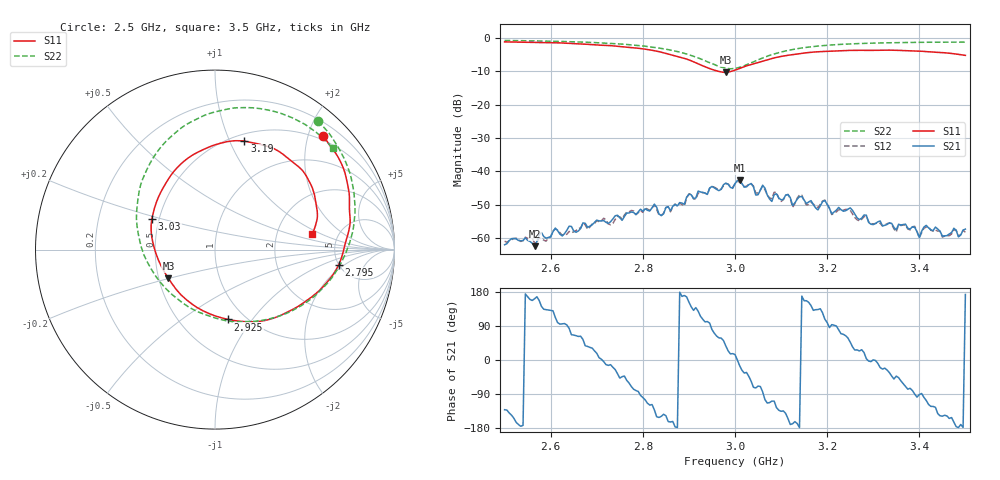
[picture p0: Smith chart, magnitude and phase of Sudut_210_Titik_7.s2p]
# Hz S RI R 50
! CMT, C1220, 16058040, 17.2.0/1
! Date: 15/08/2018 10:09:46
! Data: Format (Calibration Info)
! Freq  S11: Re/Im (F2)  S21: Re/Im (F2)  S12: Re/Im (F2)  S22: Re/Im (F2)
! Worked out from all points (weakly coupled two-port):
!   201 points, 2.5 GHz to 3.5 GHz, reference 50 ohm
!   highest |S21| = -42.70 dB at 3.01 GHz (marker M1); lowest = -62.4 dB at 2.565 GHz (marker M2)
!   lowest |S11| = -10.3 dB at 2.98 GHz (marker M3), VSWR 1.88, Z = 28.1 - j9.92 ohm
!   |S11| at or under -10 dB: 2.964 GHz to 2.992 GHz (27.84 MHz wide, 0.935 % of centre)
!   |S22| runs from -9.2 to -0.7 dB; largest |S21 - S12| = 0.00045
!   S11 on the Smith chart (normalised r, x): 2.5 GHz: 0.42, +2.25; 2.795 GHz: 5.00, -1.62; 2.925 GHz: 0.83, -0.77; 3.03 GHz: 0.46, +0.19; 3.19 GHz: 0.57, +1.14; 3.5 GHz: 3.22, +0.78
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2.5e9  0.5994 0.6355  -0.000523 -0.000597  -0.000601 -0.000668  0.573 0.7167
2.565e9  0.6683 0.5422  -0.000717 0.00024  -0.000746 0.000407  0.6458 0.6339
2.58e9  0.6855 0.5157  -0.000946 0.000753  -0.00073 0.000645  0.6616 0.6105
2.67e9  0.7474 0.3159  0.000986 0.00137  0.000974 0.00134  0.7456 0.443
2.795e9  0.6893 -0.0836  -0.000169 -0.0027  -0.000225 -0.00258  0.7613 0.0776
2.835e9  0.5811 -0.2284  -0.00202 -0.00109  -0.00189 -0.00116  0.702 -0.0754
2.925e9  0.0721 -0.3891  -0.00213 0.00443  -0.00229 0.00413  0.2954 -0.3879
2.98e9  -0.2596 -0.16  0.00531 0.00404  0.0051 0.00414  -0.141 -0.3236
3e9  -0.3281 -0.0244  0.00633 0.00162  0.0064 0.00131  -0.2779 -0.2131
3.01e9  -0.3467 0.0419  0.00708 -0.00188  0.00676 -0.00172  -0.3341 -0.1431
3.03e9  -0.3516 0.1719  0.00461 -0.00433  0.00469 -0.00438  -0.4101 0.0114
3.045e9  -0.328 0.26  0.00124 -0.00425  0.00138 -0.00455  -0.4344 0.1327
3.06e9  -0.2887 0.3444  0.000643 -0.00617  0.000369 -0.00597  -0.4328 0.2511
3.08e9  -0.2275 0.4376  -0.00112 -0.00336  -0.00114 -0.00373  -0.4029 0.3927
3.17e9  0.1001 0.6057  -0.00208 0.00239  -0.00234 0.00224  -0.0755 0.7404
3.19e9  0.1635 0.6045  -0.00199 0.0029  -0.00187 0.00307  -0.00153 0.7666
3.21e9  0.2229 0.5927  -0.000132 0.0023  8.73e-06 0.00225  0.0715 0.7829
3.335e9  0.4905 0.437  0.00141 -0.000926  0.00137 -0.001  0.4082 0.7436
3.39e9  0.5461 0.3328  2e-06 -0.00144  -7.64e-05 -0.0015  0.5101 0.6918
3.4e9  0.5521 0.3128  -2.04e-05 -0.00102  -0.000114 -0.001  0.5259 0.6802
3.415e9  0.5593 0.2775  -0.000445 -0.00148  -0.000409 -0.00141  0.5499 0.6638
3.5e9  0.5414 0.0843  -0.00135 0.000168  -0.0012 0.000237  0.6573 0.564
